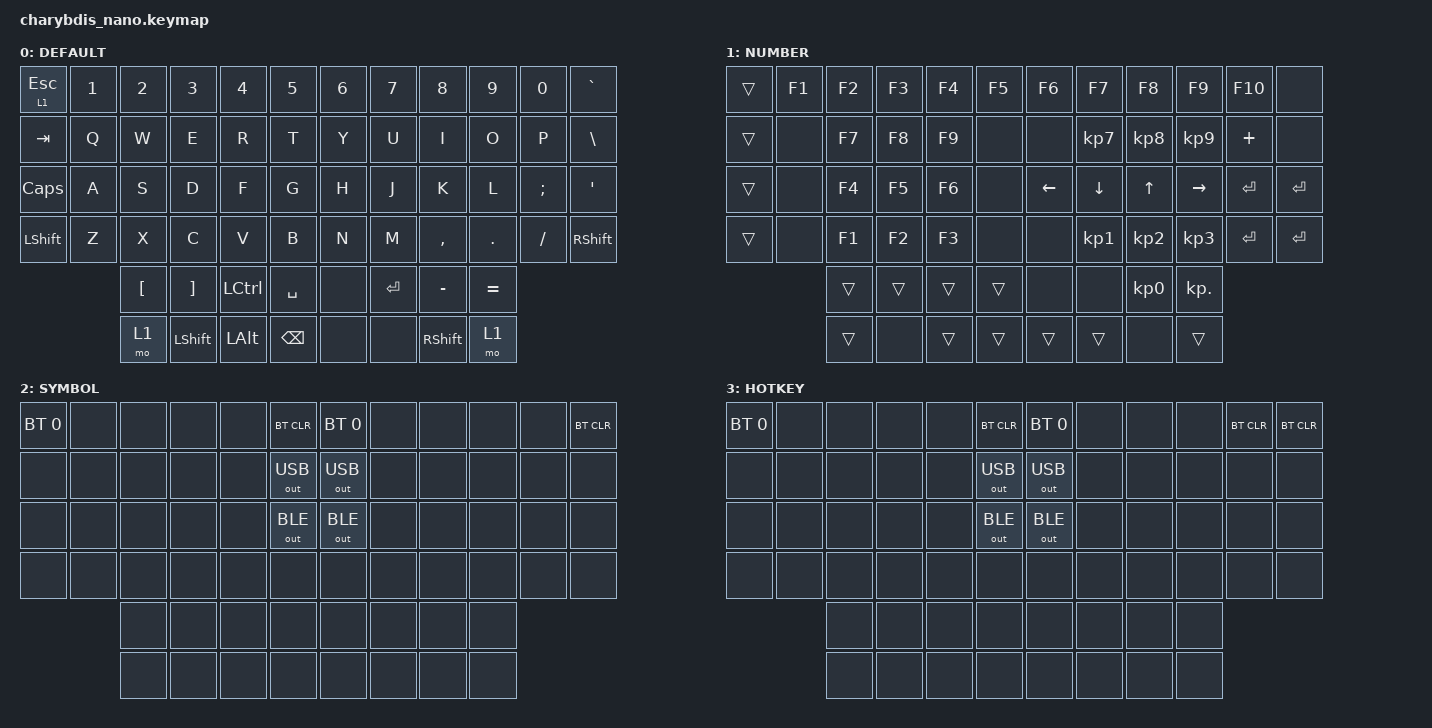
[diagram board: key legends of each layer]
#include <dt-bindings/zmk/mouse.h>
#include <behaviors.dtsi>
#include <dt-bindings/zmk/bt.h>
#include <dt-bindings/zmk/keys.h>
#include <dt-bindings/zmk/outputs.h>
#include <dt-bindings/zmk/pointing.h>

#define DEFAULT 0
#define NUMBER  1
#define SYMBOL  2
#define HOTKEY  3

&lt {
    tapping-term-ms = <200>;
    flavor = "balanced";
    quick-tap-ms = <150>;
};

/ {
    macros {
        macro_phone: macro_phone {
            // 1351

            label = "MACRO_PHONE";
            compatible = "zmk,behavior-macro";
            #binding-cells = <0>;
            bindings = <&kp N1 &kp N3 &kp N5 &kp N1>;
        };
    };

    combos {
        compatible = "zmk,combos";

        combo_esc {
            timeout-ms = <50>;
            key-positions = <31 32>;
            bindings = <&mkp LCLK>;
        };

        combo_rgui {
            timeout-ms = <50>;
            key-positions = <31 32 33>;
            bindings = <&mkp MCLK>;
        };

        combo_LSHFT {
            timeout-ms = <50>;
            key-positions = <32 33>;
            bindings = <&mkp MB2>;
        };

        combo_PGUP {
            bindings = <&kp PAGE_UP>;
            key-positions = <20 21>;
        };

        combo_PGDN {
            bindings = <&kp PAGE_DOWN>;
            key-positions = <44 45>;
        };
    };

    keymap {
        compatible = "zmk,keymap";

        default_layer {
            label = "DEFAULT";
            bindings = <
&lt 1 ESC       &kp N1  &kp N2            &kp N3             &kp N4     &kp N5     &kp N6  &kp N7   &kp N8     &kp N9     &kp N0     &kp GRAVE
&kp TAB         &kp Q   &kp W             &kp E              &kp R      &kp T      &kp Y   &kp U    &kp I      &kp O      &kp P      &kp BACKSLASH
&kp CAPS        &kp A   &kp S             &kp D              &kp F      &kp G      &kp H   &kp J    &kp K      &kp L      &kp SEMI   &kp APOS
&kp LEFT_SHIFT  &kp Z   &kp X             &kp C              &kp V      &kp B      &kp N   &kp M    &kp COMMA  &kp DOT    &kp SLASH  &kp RIGHT_SHIFT
                        &kp LEFT_BRACKET  &kp RIGHT_BRACKET  &kp LCTRL  &kp SPACE  &none   &kp RET  &kp MINUS  &kp EQUAL
                        &mo 1             &kp LSHFT          &kp LALT   &kp BSPC   &none   &none    &kp RSHFT  &mo 1
            >;
        };

        number_layer {
            label = "NUMBER";
            bindings = <
&trans  &kp F1  &kp F2  &kp F3  &kp F4  &kp F5  &kp F6          &kp F7          &kp F8        &kp F9           &kp F10    &none
&trans  &none   &kp F7  &kp F8  &kp F9  &none   &none           &kp KP_N7       &kp KP_N8     &kp KP_N9        &kp PLUS   &none
&trans  &none   &kp F4  &kp F5  &kp F6  &none   &kp LEFT_ARROW  &kp DOWN_ARROW  &kp UP_ARROW  &kp RIGHT_ARROW  &kp ENTER  &kp RET
&trans  &none   &kp F1  &kp F2  &kp F3  &none   &none           &kp KP_N1       &kp KP_N2     &kp KP_N3        &kp ENTER  &kp ENTER
                &trans  &trans  &trans  &trans  &none           &none           &kp KP_N0     &kp KP_DOT
                &trans  &none   &trans  &trans  &trans          &trans          &none         &trans
            >;
        };

        symbol_layer {
            label = "SYMBOL";
            bindings = <
&bt BT_SEL 0  &none  &none  &none  &none  &bt BT_CLR    &bt BT_SEL 0  &none  &none  &none  &none  &bt BT_CLR
&none         &none  &none  &none  &none  &out OUT_USB  &out OUT_USB  &none  &none  &none  &none  &none
&none         &none  &none  &none  &none  &out OUT_BLE  &out OUT_BLE  &none  &none  &none  &none  &none
&none         &none  &none  &none  &none  &none         &none         &none  &none  &none  &none  &none
                     &none  &none  &none  &none         &none         &none  &none  &none
                     &none  &none  &none  &none         &none         &none  &none  &none
            >;
        };

        hotkey_layer {
            label = "HOTKEY";
            bindings = <
&bt BT_SEL 0  &none  &none  &none  &none  &bt BT_CLR    &bt BT_SEL 0  &none  &none  &none  &bt BT_CLR  &bt BT_CLR
&none         &none  &none  &none  &none  &out OUT_USB  &out OUT_USB  &none  &none  &none  &none       &none
&none         &none  &none  &none  &none  &out OUT_BLE  &out OUT_BLE  &none  &none  &none  &none       &none
&none         &none  &none  &none  &none  &none         &none         &none  &none  &none  &none       &none
                     &none  &none  &none  &none         &none         &none  &none  &none
                     &none  &none  &none  &none         &none         &none  &none  &none
            >;
        };
    };
};
